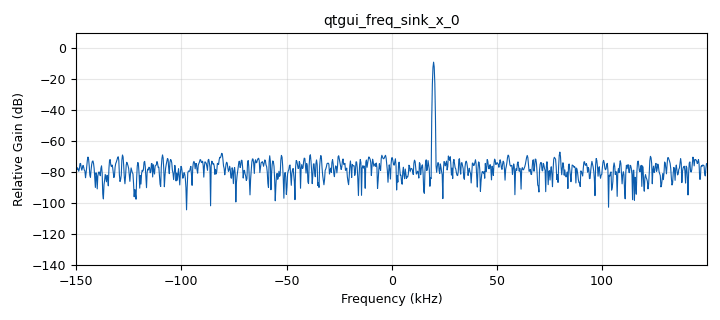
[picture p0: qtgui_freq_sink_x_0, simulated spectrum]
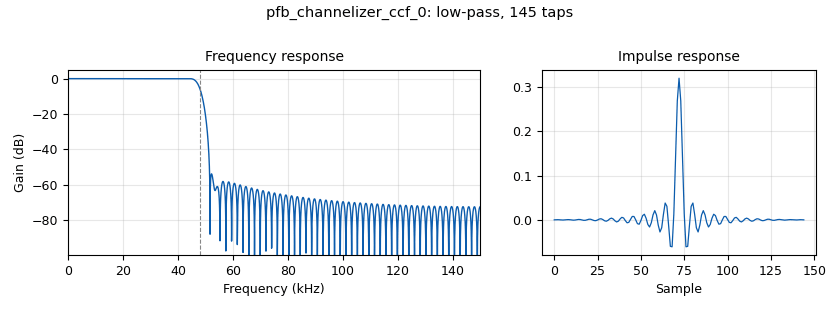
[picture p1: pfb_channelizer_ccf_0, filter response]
<?xml version='1.0' encoding='utf-8'?>
<?grc format='1' created='3.7.12'?>
<flow_graph>
<block>
<key>options</key>
<param><key>id</key><value>top_block</value></param>
<param><key>generate_options</key><value>qt_gui</value></param>
</block>
<block>
<key>variable</key>
<param><key>id</key><value>rate2</value></param>
<param><key>value</key><value>(samp_rate/3)*1.5</value></param>
</block>
<block>
<key>variable</key>
<param><key>id</key><value>samp_rate</value></param>
<param><key>value</key><value>300000</value></param>
</block>
<block>
<key>variable</key>
<param><key>id</key><value>taplen</value></param>
<param><key>value</key><value>len(taps)</value></param>
</block>
<block>
<key>variable</key>
<param><key>id</key><value>taps</value></param>
<param><key>value</key><value>firdes.low_pass(1.0,samp_rate,48e3,5e3)</value></param>
</block>
<block>
<key>analog_fastnoise_source_x</key>
<param><key>id</key><value>analog_fastnoise_source_x_0</value></param>
<param><key>amp</key><value>0.01</value></param>
<param><key>noise_type</key><value>analog.GR_GAUSSIAN</value></param>
<param><key>type</key><value>complex</value></param>
<param><key>seed</key><value>0</value></param>
<param><key>samples</key><value>8192</value></param>
</block>
<block>
<key>analog_frequency_modulator_fc</key>
<param><key>id</key><value>analog_frequency_modulator_fc_0</value></param>
<param><key>sensitivity</key><value>2*3.14</value></param>
</block>
<block>
<key>analog_sig_source_x</key>
<param><key>id</key><value>analog_sig_source_x_0</value></param>
<param><key>amp</key><value>1</value></param>
<param><key>freq</key><value>0.1</value></param>
<param><key>offset</key><value>-0.5</value></param>
<param><key>type</key><value>float</value></param>
<param><key>samp_rate</key><value>samp_rate</value></param>
<param><key>waveform</key><value>analog.GR_SAW_WAVE</value></param>
</block>
<block>
<key>blocks_add_xx</key>
<param><key>id</key><value>blocks_add_xx_0</value></param>
<param><key>type</key><value>complex</value></param>
</block>
<block>
<key>blocks_stream_to_streams</key>
<param><key>id</key><value>blocks_stream_to_streams_1</value></param>
<param><key>type</key><value>complex</value></param>
<param><key>num_streams</key><value>3</value></param>
</block>
<block>
<key>blocks_throttle</key>
<param><key>id</key><value>blocks_throttle_0</value></param>
<param><key>samples_per_second</key><value>samp_rate</value></param>
<param><key>type</key><value>complex</value></param>
</block>
<block>
<key>clenabled_clPolyphaseChannelizer</key>
<param><key>id</key><value>clenabled_clPolyphaseChannelizer_0</value></param>
<param><key>buf_items</key><value>6000</value></param>
<param><key>chmap</key><value>range(3)</value></param>
<param><key>setDebug</key><value>0</value></param>
<param><key>deviceId</key><value>0</value></param>
<param><key>ninputs_per_iter</key><value>2</value></param>
<param><key>num_channels</key><value>3</value></param>
<param><key>devices</key><value>1</value></param>
<param><key>openCLPlatform</key><value>1</value></param>
<param><key>platformId</key><value>0</value></param>
<param><key>taps</key><value>taps</value></param>
</block>
<block>
<key>import</key>
<param><key>id</key><value>import_0</value></param>
<param><key>import</key><value>from gnuradio.filter import firdes</value></param>
</block>
<block>
<key>pfb_channelizer_ccf</key>
<param><key>id</key><value>pfb_channelizer_ccf_0</value></param>
<param><key>atten</key><value>100</value></param>
<param><key>bus_conns</key><value>[[0,],]</value></param>
<param><key>ch_map</key><value>[]</value></param>
<param><key>ninchans</key><value>3</value></param>
<param><key>noutchans</key><value>3</value></param>
<param><key>osr</key><value>1.5</value></param>
<param><key>taps</key><value>taps</value></param>
</block>
<block>
<key>qtgui_freq_sink_x</key>
<param><key>id</key><value>qtgui_freq_sink_x_0</value></param>
<param><key>bw</key><value>samp_rate</value></param>
<param><key>fc</key><value>0</value></param>
<param><key>fftsize</key><value>1024</value></param>
<param><key>gui_hint</key><value>0,0,1,3</value></param>
<param><key>showports</key><value>True</value></param>
<param><key>type</key><value>complex</value></param>
<param><key>update_time</key><value>0.05</value></param>
<param><key>wintype</key><value>firdes.WIN_BLACKMAN_hARRIS</value></param>
</block>
<block>
<key>qtgui_freq_sink_x</key>
<param><key>id</key><value>qtgui_freq_sink_x_0_0</value></param>
<param><key>bw</key><value>rate2</value></param>
<param><key>fc</key><value>0</value></param>
<param><key>fftsize</key><value>1024</value></param>
<param><key>gui_hint</key><value>1,0,1,1</value></param>
<param><key>alpha1</key><value>.5</value></param>
<param><key>alpha2</key><value>.5</value></param>
<param><key>label2</key><value></value></param>
<param><key>nconnections</key><value>2</value></param>
<param><key>showports</key><value>True</value></param>
<param><key>type</key><value>complex</value></param>
<param><key>update_time</key><value>0.05</value></param>
<param><key>wintype</key><value>firdes.WIN_BLACKMAN_hARRIS</value></param>
</block>
<block>
<key>qtgui_freq_sink_x</key>
<param><key>id</key><value>qtgui_freq_sink_x_0_1</value></param>
<param><key>bw</key><value>rate2</value></param>
<param><key>fc</key><value>0</value></param>
<param><key>fftsize</key><value>1024</value></param>
<param><key>gui_hint</key><value>1,1,1,1</value></param>
<param><key>alpha1</key><value>.5</value></param>
<param><key>alpha2</key><value>.5</value></param>
<param><key>label2</key><value></value></param>
<param><key>nconnections</key><value>2</value></param>
<param><key>showports</key><value>True</value></param>
<param><key>type</key><value>complex</value></param>
<param><key>update_time</key><value>0.05</value></param>
<param><key>wintype</key><value>firdes.WIN_BLACKMAN_hARRIS</value></param>
</block>
<block>
<key>qtgui_freq_sink_x</key>
<param><key>id</key><value>qtgui_freq_sink_x_0_2</value></param>
<param><key>bw</key><value>rate2</value></param>
<param><key>fc</key><value>0</value></param>
<param><key>fftsize</key><value>1024</value></param>
<param><key>gui_hint</key><value>1,2,1,1</value></param>
<param><key>alpha1</key><value>.5</value></param>
<param><key>alpha2</key><value>.5</value></param>
<param><key>label2</key><value></value></param>
<param><key>nconnections</key><value>2</value></param>
<param><key>showports</key><value>True</value></param>
<param><key>type</key><value>complex</value></param>
<param><key>update_time</key><value>0.05</value></param>
<param><key>wintype</key><value>firdes.WIN_BLACKMAN_hARRIS</value></param>
</block>
<connection><source_block_id>analog_fastnoise_source_x_0</source_block_id><sink_block_id>blocks_throttle_0</sink_block_id><source_key>0</source_key><sink_key>0</sink_key></connection>
<connection><source_block_id>analog_frequency_modulator_fc_0</source_block_id><sink_block_id>blocks_add_xx_0</sink_block_id><source_key>0</source_key><sink_key>0</sink_key></connection>
<connection><source_block_id>analog_sig_source_x_0</source_block_id><sink_block_id>analog_frequency_modulator_fc_0</sink_block_id><source_key>0</source_key><sink_key>0</sink_key></connection>
<connection><source_block_id>blocks_add_xx_0</source_block_id><sink_block_id>clenabled_clPolyphaseChannelizer_0</sink_block_id><source_key>0</source_key><sink_key>0</sink_key></connection>
<connection><source_block_id>blocks_add_xx_0</source_block_id><sink_block_id>pfb_channelizer_ccf_0</sink_block_id><source_key>0</source_key><sink_key>0</sink_key></connection>
<connection><source_block_id>blocks_add_xx_0</source_block_id><sink_block_id>qtgui_freq_sink_x_0</sink_block_id><source_key>0</source_key><sink_key>0</sink_key></connection>
<connection><source_block_id>blocks_stream_to_streams_1</source_block_id><sink_block_id>qtgui_freq_sink_x_0_1</sink_block_id><source_key>0</source_key><sink_key>1</sink_key></connection>
<connection><source_block_id>blocks_stream_to_streams_1</source_block_id><sink_block_id>qtgui_freq_sink_x_0_2</sink_block_id><source_key>1</source_key><sink_key>1</sink_key></connection>
<connection><source_block_id>blocks_stream_to_streams_1</source_block_id><sink_block_id>qtgui_freq_sink_x_0_0</sink_block_id><source_key>2</source_key><sink_key>1</sink_key></connection>
<connection><source_block_id>blocks_throttle_0</source_block_id><sink_block_id>blocks_add_xx_0</sink_block_id><source_key>0</source_key><sink_key>1</sink_key></connection>
<connection><source_block_id>clenabled_clPolyphaseChannelizer_0</source_block_id><sink_block_id>blocks_stream_to_streams_1</sink_block_id><source_key>0</source_key><sink_key>0</sink_key></connection>
<connection><source_block_id>pfb_channelizer_ccf_0</source_block_id><sink_block_id>qtgui_freq_sink_x_0_1</sink_block_id><source_key>0</source_key><sink_key>0</sink_key></connection>
<connection><source_block_id>pfb_channelizer_ccf_0</source_block_id><sink_block_id>qtgui_freq_sink_x_0_2</sink_block_id><source_key>1</source_key><sink_key>0</sink_key></connection>
<connection><source_block_id>pfb_channelizer_ccf_0</source_block_id><sink_block_id>qtgui_freq_sink_x_0_0</sink_block_id><source_key>2</source_key><sink_key>0</sink_key></connection>
</flow_graph>
